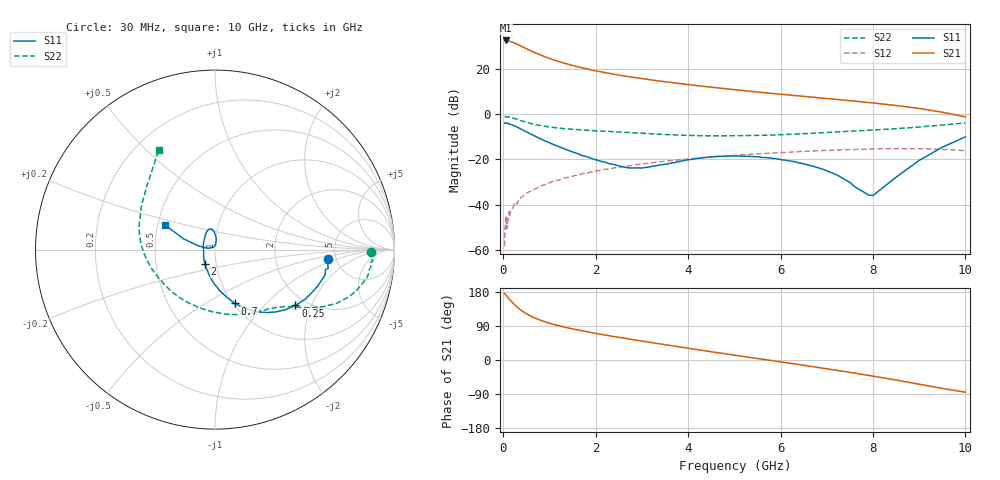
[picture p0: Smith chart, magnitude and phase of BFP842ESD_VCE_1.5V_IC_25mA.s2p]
! Infineon Technologies  Discrete & RF Semiconductors
! BFP842ESD
! VCE =  1.5 V,  IC =  25 mA
! Common Emitter S-Parameters:  May 2012
# GHz  S  MA  R  50
!  f  S11  S21  S12  S22
! GHz  MAG  ANG  MAG  ANG  MAG  ANG  MAG  ANG
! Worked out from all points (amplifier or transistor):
!   99 points, 30 MHz to 10 GHz, reference 50 ohm
!   highest |S21| = 32.6 dB at 60 MHz (marker M1)
!   |S21| within 3 dB of that: start of sweep to 437.3 MHz
!   unconditionally stable (mu >= 1): start of sweep to 38.84 MHz; 69.83 MHz to 70.19 MHz; 1.562 GHz to end of sweep
!   at 350 MHz: K = 0.58, MSG = 33.9 dB, |S12| = -37.3 dB
!   at 3.5 GHz: K = 1.13, MAG = 15.4 dB, |S12| = -20.9 dB
!   at 10 GHz: K = 1.99, MAG = 1.8 dB, |S12| = -16.2 dB
!   S11 on the Smith chart (normalised r, x): 30 MHz: 4.31, -0.75; 250 MHz: 1.75, -1.55; 700 MHz: 1.02, -0.68; 2 GHz: 0.88, -0.14; 10 GHz: 0.54, +0.17
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0.03  0.6327 -4.7  41.91 176.0  0.0012 31.4  0.8706 -0.9
0.05  0.6306 -6.9  41.78 172.6  0.0037 136.2  0.8665 -2.6
0.06  0.6395 -9.1  42.49 171.1  0.0057 108.6  0.8823 -4.1
0.11  0.6147 -17.0  41.49 163.6  0.0047 90.0  0.8656 -8.6
0.15  0.5962 -22.3  40.37 158.2  0.0069 58.2  0.8488 -12.0
0.25  0.5456 -34.8  37.16 145.4  0.0113 74.5  0.7949 -19.0
0.35  0.4866 -45.5  33.24 134.7  0.0136 70.0  0.7365 -24.2
0.45  0.4317 -53.9  29.65 125.9  0.0163 68.3  0.6834 -27.7
0.6  0.3597 -64.1  25.02 115.7  0.02 64.8  0.6185 -31.5
0.7  0.3201 -69.5  22.52 110.1  0.0223 64.7  0.5867 -33.4
0.9  0.256 -78.7  18.6 101.0  0.0276 63.5  0.537 -36.4
1.1  0.209 -86.9  15.73 93.7  0.0332 61.6  0.5039 -39.1
1.4  0.1588 -98.5  12.71 84.8  0.0401 59.0  0.4699 -43.2
1.7  0.122 -110.5  10.6 77.2  0.0475 57.3  0.4447 -47.9
2  0.0981 -124.7  9.061 70.2  0.0551 54.4  0.4269 -53.1
2.7  0.0648 -167.1  6.765 55.8  0.0717 45.9  0.3926 -66.8
3.4  0.0751 147.6  5.356 42.4  0.0882 37.8  0.3582 -83.6
5.1  0.1183 102.9  3.388 11.1  0.1247 14.7  0.333 -130.9
6.7  0.0706 86.0  2.362 -17.7  0.1529 -8.6  0.3774 -168.5
7.9  0.0162 113.8  1.805 -40.5  0.1681 -29.0  0.4404 164.2
8.5  0.0402 169.9  1.549 -52.9  0.1721 -40.8  0.4757 149.7
10  0.3135 153.7  0.87 -85.0  0.1551 -74.7  0.6376 119.4
